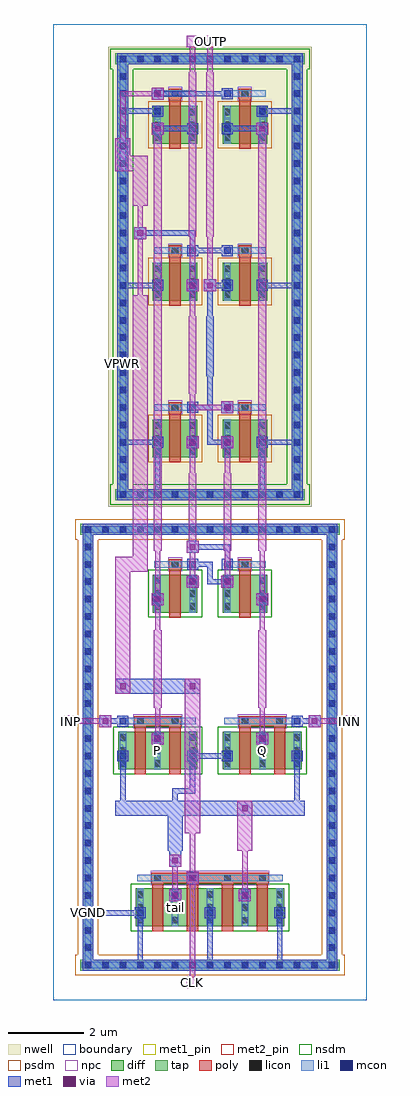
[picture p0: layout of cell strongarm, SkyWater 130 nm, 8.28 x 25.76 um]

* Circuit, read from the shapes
.subckt strongarm CLK INN INP OUTN OUTP P Q VGND VPWR tail
XM1 P INP tail VGND sky130_fd_pr__nfet_01v8 w=1 l=0.3 m=2
XM2 tail CLK VGND VGND sky130_fd_pr__nfet_01v8 w=1 l=0.3 m=4
XM3 OUTN OUTP P VGND sky130_fd_pr__nfet_01v8 w=1 l=0.3
XM4 Q INN tail VGND sky130_fd_pr__nfet_01v8 w=1 l=0.3 m=2
XM5 Q OUTN OUTP VGND sky130_fd_pr__nfet_01v8 w=1 l=0.3
XM6 OUTN OUTP VPWR VPWR sky130_fd_pr__pfet_01v8 w=1 l=0.3
XM7 OUTN CLK VPWR VPWR sky130_fd_pr__pfet_01v8 w=1 l=0.3
XM8 P CLK VPWR VPWR sky130_fd_pr__pfet_01v8 w=1 l=0.3
XM9 VPWR OUTN OUTP VPWR sky130_fd_pr__pfet_01v8 w=1 l=0.3
XM10 VPWR CLK OUTP VPWR sky130_fd_pr__pfet_01v8 w=1 l=0.3
XM11 VPWR CLK Q VPWR sky130_fd_pr__pfet_01v8 w=1 l=0.3
.ends

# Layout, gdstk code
import gdstk
lib = gdstk.Library(unit=1e-6, precision=1e-09)
def R(c, l, rs):  # rectangles x0, y0, x1, y1
    for r in rs: c.add(gdstk.rectangle(r[:2], r[2:], *l))
def A(c, l, x, y, w, h, nx, ny, dx, dy):  # array of equal rectangles
    R(c, l, [(x+i*dx, y+j*dy, x+i*dx+w, y+j*dy+h) for i in range(nx) for j in range(ny)])
nwell = (64, 20)
diff = (65, 20)
tap = (65, 44)
poly = (66, 20)
licon = (66, 44)
li1 = (67, 20)
mcon = (67, 44)
met1_pin = (68, 16)
met1 = (68, 20)
via = (68, 44)
met2_pin = (69, 16)
met2 = (69, 20)
nsdm = (93, 44)
psdm = (94, 20)
npc = (95, 20)
boundary = (235, 4)

strongarm = lib.new_cell('strongarm')
R(strongarm, nwell, [(1.455,13.015,6.825,25.165)])
A(strongarm, diff, 2.635, 14.32, 1.17, 1, 1, 3, 0, 4.14)
A(strongarm, diff, 4.475, 14.32, 1.17, 1, 1, 3, 0, 4.14)
R(strongarm, diff, [(2.175,1.945,6.105,2.945), (1.715,6.085,3.805,7.085), (4.475,6.085,6.565,7.085), (2.635,10.225,3.805,11.225), (4.475,10.225,5.645,11.225)])
R(strongarm, tap, [(0.715,0.775,7.565,1.065), (0.775,0.775,1.065,12.565), (7.215,0.775,7.505,12.565), (0.715,12.275,7.565,12.565), (1.635,13.195,6.645,13.485), (1.695,13.195,1.985,24.985), (6.295,13.195,6.585,24.985), (1.635,24.695,6.645,24.985)])
A(strongarm, poly, 2.61, 1.815, 0.3, 1.405, 4, 1, 0.92, 0)
A(strongarm, poly, 3.055, 11.365, 0.33, 0.27, 1, 4, 0, 4.14)
A(strongarm, poly, 4.895, 11.365, 0.33, 0.27, 1, 4, 0, 4.14)
A(strongarm, poly, 3.07, 14.19, 0.3, 1.45, 1, 3, 0, 4.14)
A(strongarm, poly, 4.91, 14.19, 0.3, 1.45, 1, 3, 0, 4.14)
R(strongarm, poly, [(2.595,3.085,5.685,3.355), (2.15,5.955,2.45,7.36), (3.07,5.955,3.37,7.36), (4.91,5.955,5.21,7.36), (5.83,5.955,6.13,7.36), (2.135,7.225,3.385,7.495), (4.895,7.225,6.145,7.495), (3.07,10.095,3.37,11.5), (4.91,10.095,5.21,11.5)])
A(strongarm, licon, 0.835, 0.835, 0.17, 0.17, 15, 2, 0.46, 11.5)
A(strongarm, licon, 0.835, 1.295, 0.17, 0.17, 1, 24, 0, 0.46)
A(strongarm, licon, 7.275, 1.295, 0.17, 0.17, 1, 24, 0, 0.46)
A(strongarm, licon, 2.215, 2.02, 0.17, 0.17, 5, 3, 0.92, 0.34)
A(strongarm, licon, 2.675, 3.135, 0.17, 0.17, 4, 2, 0.92, 7.165)
A(strongarm, licon, 1.755, 6.16, 0.17, 0.17, 6, 3, 0.92, 0.34)
A(strongarm, licon, 3.135, 7.275, 0.17, 0.17, 1, 5, 0, 4.14)
A(strongarm, licon, 4.975, 7.275, 0.17, 0.17, 1, 5, 0, 4.14)
A(strongarm, licon, 2.675, 10.64, 0.17, 0.17, 4, 2, 0.92, 0.34)
A(strongarm, licon, 1.755, 13.255, 0.17, 0.17, 11, 2, 0.46, 11.5)
A(strongarm, licon, 1.755, 13.715, 0.17, 0.17, 1, 24, 0, 0.46)
A(strongarm, licon, 6.355, 13.715, 0.17, 0.17, 1, 24, 0, 0.46)
A(strongarm, licon, 2.675, 14.395, 0.17, 0.17, 4, 3, 0.92, 0.34)
A(strongarm, licon, 2.675, 18.535, 0.17, 0.17, 4, 3, 0.92, 0.34)
A(strongarm, licon, 2.675, 22.675, 0.17, 0.17, 4, 3, 0.92, 0.34)
R(strongarm, licon, [(2.215,7.275,2.385,7.445), (5.895,7.275,6.065,7.445)])
A(strongarm, li1, 2.215, 1.94, 0.17, 1.01, 5, 1, 0.92, 0)
A(strongarm, li1, 1.755, 6.08, 0.17, 1.01, 6, 1, 0.92, 0)
A(strongarm, li1, 2.675, 10.22, 0.17, 1.01, 4, 2, 0.92, 4.095)
A(strongarm, li1, 2.675, 11.415, 1.09, 0.17, 1, 4, 0, 4.14)
A(strongarm, li1, 4.515, 11.415, 1.09, 0.17, 1, 4, 0, 4.14)
A(strongarm, li1, 2.675, 18.455, 0.17, 1.01, 4, 2, 0.92, 4.14)
R(strongarm, li1, [(0.755,0.835,7.525,1.005), (0.835,0.835,1.005,12.505), (7.275,0.835,7.445,12.505), (2.215,3.135,6.065,3.305), (1.755,7.275,3.765,7.445), (4.515,7.275,6.525,7.445), (0.755,12.335,7.525,12.505), (1.675,13.255,6.605,13.425), (1.755,13.255,1.925,24.925), (6.355,13.255,6.525,24.925), (1.675,24.755,6.605,24.925)])
A(strongarm, mcon, 0.835, 0.835, 0.17, 0.17, 15, 2, 0.46, 11.5)
A(strongarm, mcon, 0.835, 1.295, 0.17, 0.17, 1, 24, 0, 0.46)
A(strongarm, mcon, 7.275, 1.295, 0.17, 0.17, 1, 24, 0, 0.46)
A(strongarm, mcon, 2.215, 2.215, 0.17, 0.17, 3, 1, 1.84, 0)
A(strongarm, mcon, 3.595, 11.415, 0.17, 0.17, 1, 3, 0, 4.14)
A(strongarm, mcon, 4.515, 11.415, 0.17, 0.17, 1, 3, 0, 4.14)
A(strongarm, mcon, 1.755, 13.255, 0.17, 0.17, 11, 2, 0.46, 11.5)
A(strongarm, mcon, 1.755, 14.635, 0.17, 0.17, 6, 2, 0.92, 4.14)
A(strongarm, mcon, 1.755, 15.095, 0.17, 0.17, 1, 8, 0, 0.46)
A(strongarm, mcon, 6.355, 15.095, 0.17, 0.17, 1, 8, 0, 0.46)
A(strongarm, mcon, 1.755, 19.235, 0.17, 0.17, 1, 12, 0, 0.46)
A(strongarm, mcon, 6.355, 19.235, 0.17, 0.17, 1, 10, 0, 0.46)
A(strongarm, mcon, 2.675, 23.835, 0.17, 0.17, 3, 1, 1.84, 0)
R(strongarm, mcon, [(3.135,2.675,3.305,2.845), (4.975,2.675,5.145,2.845), (3.595,3.135,3.765,3.305), (1.755,6.355,1.925,6.525), (3.595,6.355,3.765,6.525), (4.515,6.355,4.685,6.525), (6.355,6.355,6.525,6.525), (2.675,6.815,2.845,6.985), (5.435,6.815,5.605,6.985), (1.755,7.275,1.925,7.445), (6.355,7.275,6.525,7.445), (2.675,10.495,2.845,10.665), (5.435,10.495,5.605,10.665), (3.595,10.955,3.765,11.125), (4.515,10.955,4.685,11.125), (1.755,13.715,1.925,13.885), (6.355,13.715,6.525,13.885), (1.755,14.175,1.925,14.345), (6.355,14.175,6.525,14.345), (3.595,22.915,3.765,23.085), (4.515,22.915,4.685,23.085), (2.675,23.375,2.845,23.545), (5.435,23.375,5.605,23.545), (6.355,24.295,6.525,24.465)])
R(strongarm, met1_pin, [(0.85,2.23,0.99,2.37), (1.77,14.65,1.91,18.93)])
A(strongarm, met1, 2.23, 0.85, 0.14, 1.52, 3, 1, 1.84, 0)
A(strongarm, met1, 2.155, 2.155, 0.29, 0.29, 3, 1, 1.84, 0)
A(strongarm, met1, 3.535, 11.355, 0.29, 0.29, 1, 3, 0, 4.14)
A(strongarm, met1, 4.455, 11.355, 0.29, 0.29, 1, 3, 0, 4.14)
A(strongarm, met1, 2.615, 14.575, 0.29, 0.29, 4, 2, 0.92, 4.14)
R(strongarm, met1, [(0.775,0.775,7.505,1.065), (0.775,0.775,1.065,12.565), (7.215,0.775,7.505,12.565), (2.23,0.85,4.21,0.99), (4.07,0.85,6.05,0.99), (0.85,2.23,0.99,2.37), (0.85,2.23,2.37,2.37), (0.85,2.23,0.99,12.49), (3.06,2.6,3.38,2.92), (4.9,2.6,5.22,2.92), (3.075,2.615,3.365,2.905), (4.915,2.615,5.205,2.905), (3.52,3.06,3.84,3.38), (3.535,3.075,3.825,3.365), (3.06,3.52,3.38,3.84), (3.15,3.61,3.29,4.21), (3.06,3.84,3.38,3.94), (3.02,3.94,3.42,5.26), (1.64,4.86,3.42,5.26), (3.02,4.86,6.64,5.26), (4.86,4.86,5.26,5.26), (1.77,4.99,1.91,6.51), (3.15,4.99,3.29,5.59), (6.37,4.99,6.51,6.51), (3.15,5.45,3.75,5.59), (3.61,5.45,3.75,6.51), (1.695,6.295,1.985,6.585), (3.535,6.295,3.825,6.585), (4.455,6.295,4.745,6.585), (6.295,6.295,6.585,6.585), (3.61,6.37,4.67,6.51), (2.6,6.74,2.92,7.06), (5.36,6.74,5.68,7.06), (2.615,6.755,2.905,7.045), (5.375,6.755,5.665,7.045), (1.22,7.2,1.54,7.52), (6.74,7.2,7.06,7.52), (1.695,7.215,1.985,7.505), (6.295,7.215,6.585,7.505), (1.31,7.29,1.91,7.43), (6.37,7.29,6.97,7.43), (1.64,8.08,2.04,8.48), (1.64,8.08,3.88,8.48), (3.48,8.08,3.88,8.48), (2.6,10.42,2.92,10.74), (5.36,10.42,5.68,10.74), (2.615,10.435,2.905,10.725), (5.375,10.435,5.665,10.725), (3.52,10.88,3.84,11.2), (4.44,10.88,4.76,11.2), (3.535,10.895,3.825,11.185), (4.455,10.895,4.745,11.185), (4.07,10.97,4.67,11.11), (4.07,10.97,4.21,11.57), (3.61,11.43,4.21,11.57), (4.53,11.43,4.67,12.03), (3.52,11.8,3.84,12.12), (3.61,11.89,4.67,12.03), (0.775,12.275,7.505,12.565), (0.85,12.35,0.99,12.49), (1.695,13.195,6.585,13.485), (1.695,13.195,1.985,24.985), (6.295,13.195,6.585,24.985), (2.69,13.27,5.59,13.41), (2.69,13.27,2.83,14.79), (5.45,13.27,5.59,14.79), (3.52,14.56,3.84,14.88), (4.44,14.56,4.76,14.88), (1.77,14.65,2.83,14.79), (1.77,14.65,1.91,18.93), (4.07,14.65,4.67,14.79), (4.07,14.65,4.21,15.71), (5.45,14.65,6.51,14.79), (6.37,14.65,6.51,18.93), (4.44,15.48,4.76,15.8), (3.61,15.57,4.21,15.71), (4.07,15.57,4.21,16.63), (4.04,16.46,4.24,18.04), (4.07,17.87,4.21,18.93), (3.52,18.7,3.84,19.02), (3.98,18.7,4.3,19.02), (1.77,18.79,2.83,18.93), (1.77,18.79,1.91,23.53), (4.07,18.79,4.67,18.93), (5.45,18.79,6.51,18.93), (6.37,18.79,6.51,23.53), (3.61,19.71,3.75,20.31), (3.61,19.71,4.67,19.85), (2.14,20.08,2.46,20.4), (2.23,20.17,3.75,20.31), (2.6,22.84,2.92,23.16), (5.36,22.84,5.68,23.16), (3.535,22.855,3.825,23.145), (4.455,22.855,4.745,23.145), (2.69,22.93,3.75,23.07), (4.53,22.93,5.59,23.07), (2.615,23.315,2.905,23.605), (5.375,23.315,5.665,23.605), (1.77,23.39,2.83,23.53), (1.77,23.39,1.91,24.91), (1.77,23.39,1.91,23.53), (5.45,23.39,6.51,23.53), (2.6,23.76,2.92,24.08), (2.615,23.775,2.905,24.065), (4.455,23.775,4.745,24.065), (2.69,23.85,4.67,23.99), (1.695,24.695,6.585,24.985), (1.77,24.77,1.91,24.91)])
R(strongarm, via, [(3.145,2.685,3.295,2.835), (4.985,2.685,5.135,2.835), (3.605,3.145,3.755,3.295), (3.145,3.605,3.295,3.755), (4.985,4.985,5.135,5.135), (2.685,6.825,2.835,6.975), (5.445,6.825,5.595,6.975), (1.305,7.285,1.455,7.435), (6.825,7.285,6.975,7.435), (1.765,8.205,1.915,8.355), (3.605,8.205,3.755,8.355), (2.685,10.505,2.835,10.655), (5.445,10.505,5.595,10.655), (3.605,10.965,3.755,11.115), (4.525,10.965,4.675,11.115), (3.605,11.885,3.755,12.035), (3.605,14.645,3.755,14.795), (4.525,14.645,4.675,14.795), (4.525,15.565,4.675,15.715), (3.605,18.785,3.755,18.935), (4.065,18.785,4.215,18.935), (2.225,20.165,2.375,20.315), (2.685,22.925,2.835,23.075), (5.445,22.925,5.595,23.075), (2.685,23.845,2.835,23.995)])
R(strongarm, met2_pin, [(3.53,0.31,3.83,0.61), (0.31,7.21,0.61,7.51), (7.67,7.21,7.97,7.51), (3.53,25.15,3.83,25.45), (3.99,25.15,4.29,25.45)])
R(strongarm, met2, [(3.53,0.31,3.83,0.61), (3.61,0.39,3.75,0.53), (3.61,0.39,3.75,3.29), (3.06,2.6,3.38,2.92), (4.9,2.6,5.22,2.92), (3.15,2.69,3.29,3.75), (4.99,2.69,5.13,4.21), (3.52,3.06,3.84,3.38), (3.61,3.15,3.75,4.67), (3.06,3.52,3.38,3.84), (4.86,3.94,5.26,5.26), (3.48,4.4,3.88,8.48), (4.86,4.86,5.26,5.26), (2.6,6.74,2.92,7.06), (5.36,6.74,5.68,7.06), (2.69,6.83,2.83,7.89), (5.45,6.83,5.59,7.89), (1.22,7.2,1.54,7.52), (6.74,7.2,7.06,7.52), (0.31,7.21,0.61,7.51), (7.67,7.21,7.97,7.51), (0.39,7.29,0.53,7.43), (0.39,7.29,1.45,7.43), (6.83,7.29,7.89,7.43), (7.75,7.29,7.89,7.43), (2.66,7.72,2.86,9.76), (5.42,7.72,5.62,9.76), (1.64,8.08,2.04,11.7), (1.64,8.08,2.04,8.48), (3.48,8.08,3.88,8.48), (2.69,9.59,2.83,10.65), (5.45,9.59,5.59,10.65), (2.6,10.42,2.92,10.74), (5.36,10.42,5.68,10.74), (2.69,10.51,2.83,12.03), (5.45,10.51,5.59,12.03), (3.52,10.88,3.84,11.2), (4.44,10.88,4.76,11.2), (3.61,10.97,3.75,12.03), (4.53,10.97,4.67,12.03), (1.64,11.3,2.5,11.7), (2.1,11.3,2.5,18.6), (3.52,11.8,3.84,12.12), (2.66,11.86,2.86,23.1), (3.58,11.86,3.78,13.9), (4.5,11.86,4.7,13.9), (5.42,11.86,5.62,23.1), (3.61,13.73,3.75,14.79), (4.53,13.73,4.67,14.79), (3.52,14.56,3.84,14.88), (4.44,14.56,4.76,14.88), (3.61,14.65,3.75,15.71), (4.44,15.48,4.76,15.8), (3.61,15.57,4.67,15.71), (3.61,15.57,3.75,16.17), (3.58,16,3.78,18.04), (3.61,17.87,3.75,18.93), (2.23,18.33,2.37,20.31), (3.52,18.7,3.84,19.02), (3.98,18.7,4.3,19.02), (3.61,18.79,3.75,20.31), (4.07,18.79,4.21,20.31), (2.14,20.08,2.46,20.4), (3.58,20.14,3.78,24.48), (4.04,20.14,4.24,24.48), (2.23,20.17,2.37,21.23), (2.1,20.96,2.5,22.28), (1.64,21.88,2.5,22.28), (1.64,21.88,2.04,22.74), (1.77,22.47,1.91,23.99), (2.6,22.84,2.92,23.16), (5.36,22.84,5.68,23.16), (2.6,23.76,2.92,24.08), (1.77,23.85,2.83,23.99), (3.61,24.31,3.75,25.37), (4.07,24.31,4.21,25.37), (3.53,25.15,3.83,25.45), (3.99,25.15,4.29,25.45), (3.61,25.23,3.75,25.37), (4.07,25.23,4.21,25.37)])
R(strongarm, nsdm, [(2.05,1.82,6.23,3.07), (1.59,5.96,3.93,7.21), (4.35,5.96,6.69,7.21), (2.51,10.1,3.93,11.35), (4.35,10.1,5.77,11.35), (1.51,13.07,6.77,13.61), (1.57,13.61,2.11,24.57), (6.17,13.61,6.71,24.57), (1.51,24.57,6.77,25.11)])
A(strongarm, psdm, 2.51, 14.195, 1.42, 1.25, 1, 3, 0, 4.14)
A(strongarm, psdm, 4.35, 14.195, 1.42, 1.25, 1, 3, 0, 4.14)
R(strongarm, psdm, [(0.59,0.65,7.69,1.19), (0.65,1.19,1.19,12.15), (7.09,1.19,7.63,12.15), (0.59,12.15,7.69,12.69)])
A(strongarm, npc, 3.035, 11.315, 0.37, 0.37, 1, 4, 0, 4.14)
A(strongarm, npc, 4.875, 11.315, 0.37, 0.37, 1, 4, 0, 4.14)
R(strongarm, npc, [(2.575,3.035,5.705,3.405), (2.115,7.175,3.405,7.545), (4.875,7.175,6.165,7.545)])
R(strongarm, boundary, [(0,0,8.28,25.76)])
strongarm.add(gdstk.Label('tail', (3.22,2.445), layer=67, texttype=5))
strongarm.add(gdstk.Label('P', (2.76,6.585), layer=67, texttype=5))
strongarm.add(gdstk.Label('Q', (5.52,6.585), layer=67, texttype=5))
strongarm.add(gdstk.Label('VPWR', (1.84,16.79), layer=68, texttype=5))
strongarm.add(gdstk.Label('VGND', (0.92,2.3), layer=68, texttype=5))
strongarm.add(gdstk.Label('CLK', (3.68,0.46), layer=69, texttype=5))
strongarm.add(gdstk.Label('INP', (0.46,7.36), layer=69, texttype=5))
strongarm.add(gdstk.Label('INN', (7.82,7.36), layer=69, texttype=5))
strongarm.add(gdstk.Label('OUTP', (4.14,25.3), layer=69, texttype=5))
strongarm.add(gdstk.Label('OUTN', (3.68,25.3), layer=69, texttype=5))
strongarm.add(gdstk.Label('VPWR', (1.84,16.79), layer=68, texttype=16))
strongarm.add(gdstk.Label('VGND', (0.92,2.3), layer=68, texttype=16))
strongarm.add(gdstk.Label('CLK', (3.68,0.46), layer=69, texttype=16))
strongarm.add(gdstk.Label('INP', (0.46,7.36), layer=69, texttype=16))
strongarm.add(gdstk.Label('INN', (7.82,7.36), layer=69, texttype=16))
strongarm.add(gdstk.Label('OUTP', (4.14,25.3), layer=69, texttype=16))
strongarm.add(gdstk.Label('OUTN', (3.68,25.3), layer=69, texttype=16))

lib.write_gds('strongarm.gds')
